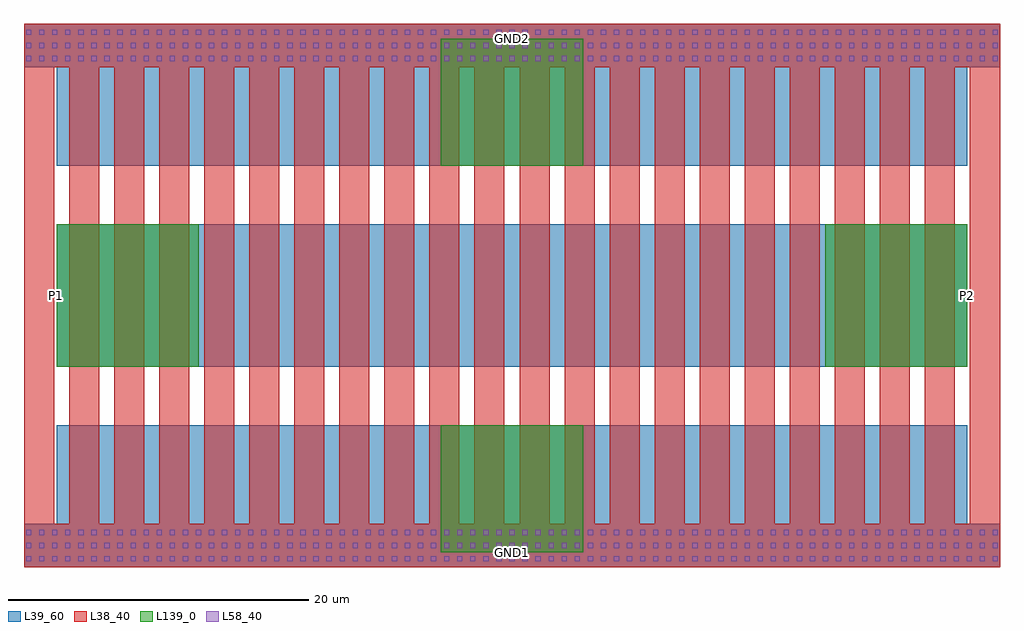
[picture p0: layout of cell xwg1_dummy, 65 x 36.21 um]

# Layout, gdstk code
import gdstk
lib = gdstk.Library(unit=1e-6, precision=1e-09)
def R(c, l, rs):  # rectangles x0, y0, x1, y1
    for r in rs: c.add(gdstk.rectangle(r[:2], r[2:], *l))
def A(c, l, x, y, w, h, nx, ny, dx, dy):  # array of equal rectangles
    R(c, l, [(x+i*dx, y+j*dy, x+i*dx+w, y+j*dy+h) for i in range(nx) for j in range(ny)])
L38_40 = (38, 40)
L39_60 = (39, 60)
L58_40 = (58, 40)
L139_0 = (139, 0)

xwg1_dummy = lib.new_cell('xwg1_dummy')
A(xwg1_dummy, L38_40, -2.18, -13.37, 2, 36.21, 22, 1, 3, 0)
R(xwg1_dummy, L38_40, [(-2.18,-13.37,62.82,-10.47), (-2.18,19.94,62.82,22.84)])
R(xwg1_dummy, L39_60, [(-2.18,-13.37,62.82,-10.47), (0,-12.37,60.64,-3.9), (0,0,60.64,9.47), (0,13.37,60.64,21.84), (-2.18,19.94,62.82,22.84)])
A(xwg1_dummy, L58_40, -2.045, -12.965, 0.35, 0.35, 75, 3, 0.87, 0.87)
A(xwg1_dummy, L58_40, -2.045, 20.345, 0.35, 0.35, 75, 3, 0.87, 0.87)
R(xwg1_dummy, L139_0, [(25.585,-12.37,35.055,-3.9), (0,0,9.47,9.47), (51.17,0,60.64,9.47), (25.585,13.37,35.055,21.84)])
xwg1_dummy.add(gdstk.Label('GND1', (30.32,-12.37), layer=139, texttype=0))
xwg1_dummy.add(gdstk.Label('GND2', (30.32,21.84), layer=139, texttype=0))
xwg1_dummy.add(gdstk.Label('P1', (0,4.735), layer=139, texttype=0))
xwg1_dummy.add(gdstk.Label('P2', (60.64,4.735), layer=139, texttype=0))

lib.write_gds('xwg1_dummy.gds')
